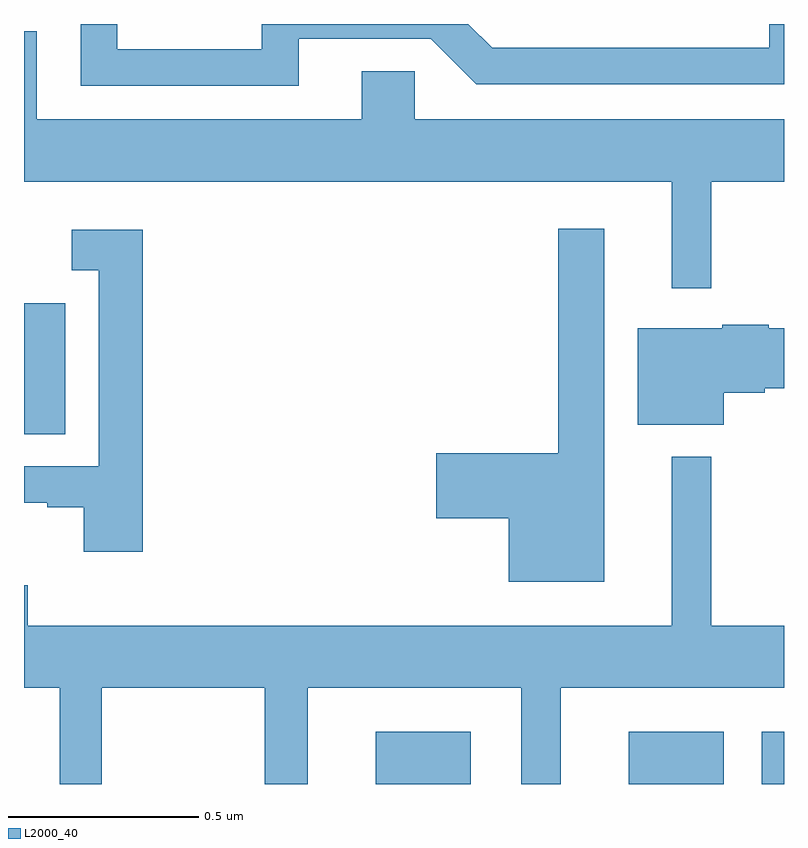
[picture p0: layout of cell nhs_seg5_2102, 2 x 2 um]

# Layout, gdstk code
import gdstk
lib = gdstk.Library(unit=1e-6, precision=1e-09)
def R(c, l, rs):  # rectangles x0, y0, x1, y1
    for r in rs: c.add(gdstk.rectangle(r[:2], r[2:], *l))
def P(c, l, *ps):  # polygons
    for p in ps: c.add(gdstk.Polygon(p, *l))
L2000_40 = (2000, 40)

nhs_seg5_2102 = lib.new_cell('nhs_seg5_2102')
R(nhs_seg5_2102, L2000_40, [(139.925,897.799,140.176,897.937), (140.591,897.799,140.842,897.937), (140.942,897.799,141,897.937), (139,898.72,139.108,899.064)])
P(nhs_seg5_2102, L2000_40, [(139.723,899.76),(140.07,899.76),(140.19,899.64),(141,899.64),(141,899.799),(140.961,899.799),(140.961,899.736),(140.232,899.736),(140.169,899.799),(139.626,899.799),(139.626,899.733),(139.245,899.733),(139.245,899.799),(139.149,899.799),(139.149,899.637),(139.723,899.637)],
  [(140.809,899.384),(141,899.384),(141,899.548),(140.028,899.548),(140.028,899.675),(139.889,899.675),(139.889,899.548),(139.033,899.548),(139.033,899.78),(139,899.78),(139,899.384),(140.705,899.384),(140.705,899.103),(140.809,899.103)],
  [(140.527,899.26),(140.406,899.26),(140.406,898.67),(140.085,898.67),(140.085,898.499),(140.276,898.499),(140.276,898.331),(140.527,898.331)],
  [(139.313,899.257),(139.125,899.257),(139.125,899.151),(139.197,899.151),(139.197,898.635),(139,898.635),(139,898.539),(139.061,898.539),(139.061,898.527),(139.157,898.527),(139.157,898.41),(139.313,898.41)],
  [(140.842,898.829),(140.949,898.829),(140.949,898.841),(141,898.841),(141,898.999),(140.96,898.999),(140.96,899.007),(140.838,899.007),(140.838,898.999),(140.615,898.999),(140.615,898.745),(140.842,898.745)],
  [(139.204,898.052),(139.633,898.052),(139.633,897.799),(139.747,897.799),(139.747,898.052),(140.309,898.052),(140.309,897.799),(140.413,897.799),(140.413,898.052),(141,898.052),(141,898.216),(140.809,898.216),(140.809,898.66),(140.705,898.66),(140.705,898.216),(139.01,898.216),(139.01,898.322),(139,898.322),(139,898.052),(139.094,898.052),(139.094,897.799),(139.204,897.799)])

lib.write_gds('nhs_seg5_2102.gds')
